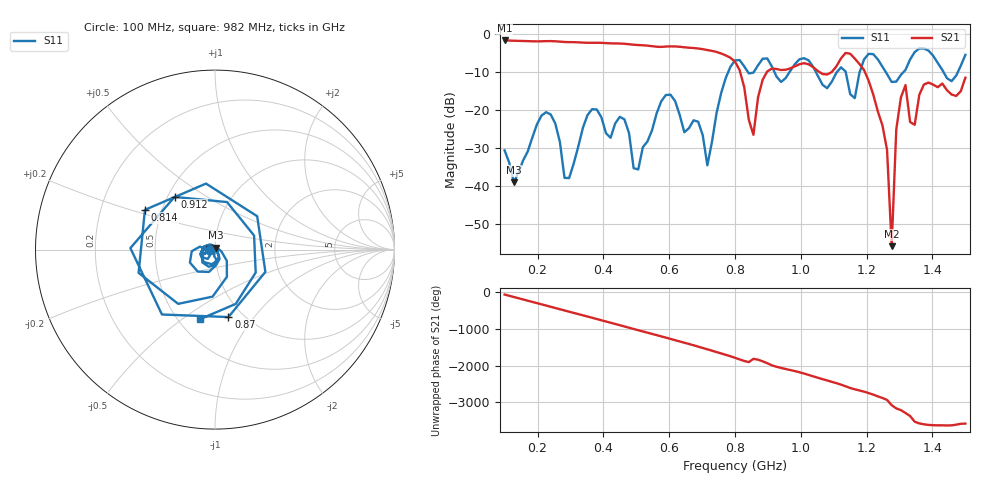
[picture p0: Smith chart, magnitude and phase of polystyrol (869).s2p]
! NanoVNA-App
! Date: 2025-09-25 15:36:39
! Start: 100MHz Stop: 1,5GHz Points: 101
! S-Parameter data: F S11 S21 S12 S22
# Hz S RI R 50
!  Frequency  S11_Real  S11_Imag  S21_Real  S21_Imag  S12_Real  S12_Imag  S22_Real  S22_Imag
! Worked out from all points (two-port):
!   101 points, 100 MHz to 1.5 GHz, reference 50 ohm
!   highest |S21| = -1.80 dB at 100 MHz (marker M1); lowest = -55.9 dB at 1.276 GHz (marker M2)
!   |S21| within 3 dB of the highest: start of sweep to 743.1 MHz
!   lowest |S11| = -39.1 dB at 128 MHz (marker M3), VSWR 1.02, Z = 50.3 + j1.06 ohm
!   |S11| at or under -10 dB: start of sweep to 779.9 MHz; 1.045 GHz to 1.111 GHz (65.83 MHz wide, 6.11 % of centre); 1.257 GHz to 1.313 GHz (55.9 MHz wide, 4.35 % of centre) (the widest 3 of 7)
!   S12 and S22 are empty: the file has one direction only
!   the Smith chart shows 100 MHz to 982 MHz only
!   S11 on the Smith chart (normalised r, x): 100 MHz: 0.94, -0.01; 814 MHz: 0.40, +0.22; 870 MHz: 0.86, -0.75; 912 MHz: 0.54, +0.37; 982 MHz: 0.63, -0.58
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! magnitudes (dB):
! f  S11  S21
! 100 MHz  -30.7  -1.8
! 128 MHz  -39.1  -1.9
! 212 MHz  -21.6  -2.0
! 282 MHz  -37.9  -2.2
! 338 MHz  -24.7  -2.4
! 506 MHz  -35.7  -3.0
! 576 MHz  -17.8  -3.5
! 716 MHz  -34.6  -4.3
! 800 MHz  -7.0  -7.4
! 814 MHz  -7.0  -9.6
! 856 MHz  -10.3  -26.6
! 870 MHz  -8.3  -16.8
! 912 MHz  -8.6  -9.2
! 982 MHz  -8.0  -8.6
! 1.038 GHz  -8.8  -8.8
! 1.192 GHz  -6.8  -9.6
! 1.262 GHz  -10.7  -30.6
! 1.276 GHz  -12.7  -55.9
! 1.29 GHz  -12.6  -25.2
! 1.318 GHz  -9.5  -13.5
! 1.346 GHz  -4.9  -24.0
! 1.5 GHz  -5.6  -11.6
